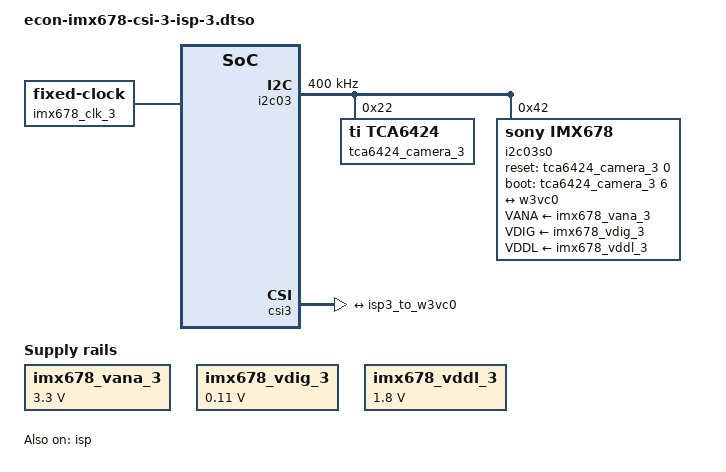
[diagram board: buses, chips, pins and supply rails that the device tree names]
// SPDX-License-Identifier: (GPL-2.0+ OR MIT)
/*
 * Copyright (c) 2024 SiMa ai
 */

/dts-v1/;
/plugin/;

/ {
	fragment@10 {
		target-path = "/"; /* Root node of the base tree */
		__overlay__ {
			imx678_vana_3: csi3_fixedregulator@0 {
				compatible = "regulator-fixed";
				regulator-name = "imx678_vana_3";
				regulator-min-microvolt = <3300000>;
				regulator-max-microvolt = <3300000>;
				enable-active-high;
				startup-delay-us = <300000>;
				regulator-always-on;
			};
			imx678_vdig_3: csi3_fixedregulator@1 {
				compatible = "regulator-fixed";
				regulator-name = "imx678_vdig_3";
				regulator-min-microvolt = <110000>;
				regulator-max-microvolt = <110000>;
				regulator-always-on;
			};
			imx678_vddl_3: csi3_fixedregulator@2 {
				compatible = "regulator-fixed";
				regulator-name = "imx678_vddl_3";
				regulator-min-microvolt = <1800000>;
				regulator-max-microvolt = <1800000>;
				regulator-always-on;
			};
			imx678_clk_3: csi3_camera-clk {
				compatible = "fixed-clock";
				#clock-cells = <0>;
				clock-frequency = <24000000>;
			};
		};
	};
};

&i2c03 {
	status = "okay";
	clock-frequency = <400000>;
	#address-cells = <1>;
	#size-cells = <0>;
	tca6424_camera_3: tca6424@22 {
		compatible = "ti,tca6424";
		gpio-controller;
		#gpio-cells = <2>;
		reg = <0x22>;
		status = "okay";
	};
	i2c03s0: sensor@42 {
		compatible = "sony,imx678";
		reg = <0x42>;
		clocks = <&imx678_clk_3>;
		clock-names = "xclk";
		VANA-supply = <&imx678_vana_3>;
		VDIG-supply = <&imx678_vdig_3>;
		VDDL-supply = <&imx678_vddl_3>;
		reset-gpios = <&tca6424_camera_3 0 0>;
		boot-gpios = <&tca6424_camera_3 6 0>;
		camera_mipi_lanes = <4>;
		cam_fw_name = "imx678_cam_fw.bin";
		i2c03p0: port@1 {
			camera_3: endpoint@0 {
				remote-endpoint = <&w3vc0>;
				data-lanes = <1 2 3 4>;
				clock-lanes = <0>;
				clock-continuous;
				link-frequencies = /bits/ 64 <450000000>;
			};
		};
	};
};

&mipi_dphy_rx3 {
	snps,dphy-frequency = <450000000>;
};

&axi_vdma_vis3 {
	status = "okay";
};

&csi3 {
	status = "okay";
	isp-connected = <1>;
	csi3p0: port@1 {
		reg = <1>;
		w3vc0_to_isp3: endpoint@1 {
			remote-endpoint = <&isp3_to_w3vc0>;
			data-lanes = <1 2 3 4>;
			clock-lanes = <1>;
			clock-continuous;
			link-frequencies = /bits/ 64 <450000000>;
		};
	};
};

&isp {
	status = "okay";
	ports {
		#address-cells = <1>;
		#size-cells = <0>;
		isp3p0: port@3 {
			reg = <3>;
			isp3_to_w3vc0: endpoint@0 {
				remote-endpoint = <&w3vc0_to_isp3>;
			};
			w3vc0: endpoint@1 {
				remote-endpoint = <&camera_3>;
				sensor-id = <2>;
			};
		};
	};
};
